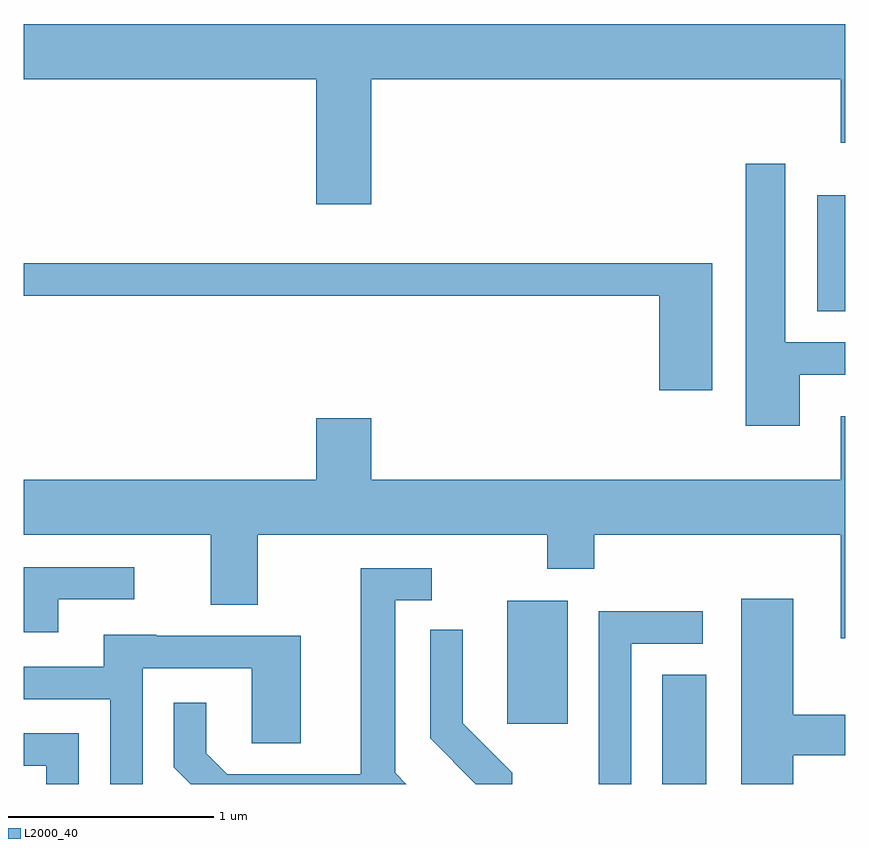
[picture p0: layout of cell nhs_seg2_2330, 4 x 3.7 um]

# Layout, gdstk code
import gdstk
lib = gdstk.Library(unit=1e-6, precision=1e-09)
def R(c, l, rs):  # rectangles x0, y0, x1, y1
    for r in rs: c.add(gdstk.rectangle(r[:2], r[2:], *l))
def P(c, l, *ps):  # polygons
    for p in ps: c.add(gdstk.Polygon(p, *l))
L2000_40 = (2000, 40)

nhs_seg2_2330 = lib.new_cell('nhs_seg2_2330')
R(nhs_seg2_2330, L2000_40, [(256.721,1013.802,256.934,1014.334), (255.966,1014.096,256.259,1014.694), (257.476,1016.106,257.611,1016.669)])
P(nhs_seg2_2330, L2000_40, [(255.304,1017.236),(257.591,1017.236),(257.591,1016.926),(257.611,1016.926),(257.611,1017.504),(253.611,1017.504),(253.611,1017.236),(255.036,1017.236),(255.036,1016.626),(255.304,1016.626)],
  [(257.389,1015.796),(257.611,1015.796),(257.611,1015.954),(257.319,1015.954),(257.319,1016.824),(257.126,1016.824),(257.126,1015.546),(257.389,1015.546)],
  [(256.964,1016.339),(253.611,1016.339),(253.611,1016.181),(256.706,1016.181),(256.706,1015.721),(256.964,1015.721)],
  [(257.611,1015.594),(257.591,1015.594),(257.591,1015.284),(255.304,1015.284),(255.304,1015.584),(255.036,1015.584),(255.036,1015.284),(253.611,1015.284),(253.611,1015.016),(254.521,1015.016),(254.521,1014.676),(254.749,1014.676),(254.749,1015.016),(256.161,1015.016),(256.161,1014.851),(256.389,1014.851),(256.389,1015.016),(257.591,1015.016),(257.591,1014.511),(257.611,1014.511)],
  [(253.779,1014.701),(254.148,1014.701),(254.148,1014.859),(253.611,1014.859),(253.611,1014.541),(253.779,1014.541)],
  [(255.419,1013.857),(255.419,1014.696),(255.598,1014.696),(255.598,1014.854),(255.251,1014.854),(255.251,1013.849),(254.602,1013.849),(254.499,1013.952),(254.499,1014.198),(254.341,1014.198),(254.341,1013.884),(254.423,1013.802),(255.474,1013.802)],
  [(257.359,1013.941),(257.611,1013.941),(257.611,1014.139),(257.359,1014.139),(257.359,1014.704),(257.106,1014.704),(257.106,1013.802),(257.359,1013.802)],
  [(256.569,1014.486),(256.918,1014.486),(256.918,1014.644),(256.411,1014.644),(256.411,1013.802),(256.569,1013.802)],
  [(255.989,1013.857),(255.749,1014.097),(255.749,1014.553),(255.591,1014.553),(255.591,1014.024),(255.813,1013.802),(255.989,1013.802)],
  [(254.189,1014.366),(254.721,1014.366),(254.721,1014.001),(254.959,1014.001),(254.959,1014.524),(254.255,1014.524),(254.255,1014.529),(254.001,1014.529),(254.001,1014.374),(253.611,1014.374),(253.611,1014.216),(254.031,1014.216),(254.031,1013.802),(254.189,1013.802)],
  [(253.879,1014.049),(253.611,1014.049),(253.611,1013.891),(253.721,1013.891),(253.721,1013.802),(253.879,1013.802)])

lib.write_gds('nhs_seg2_2330.gds')
